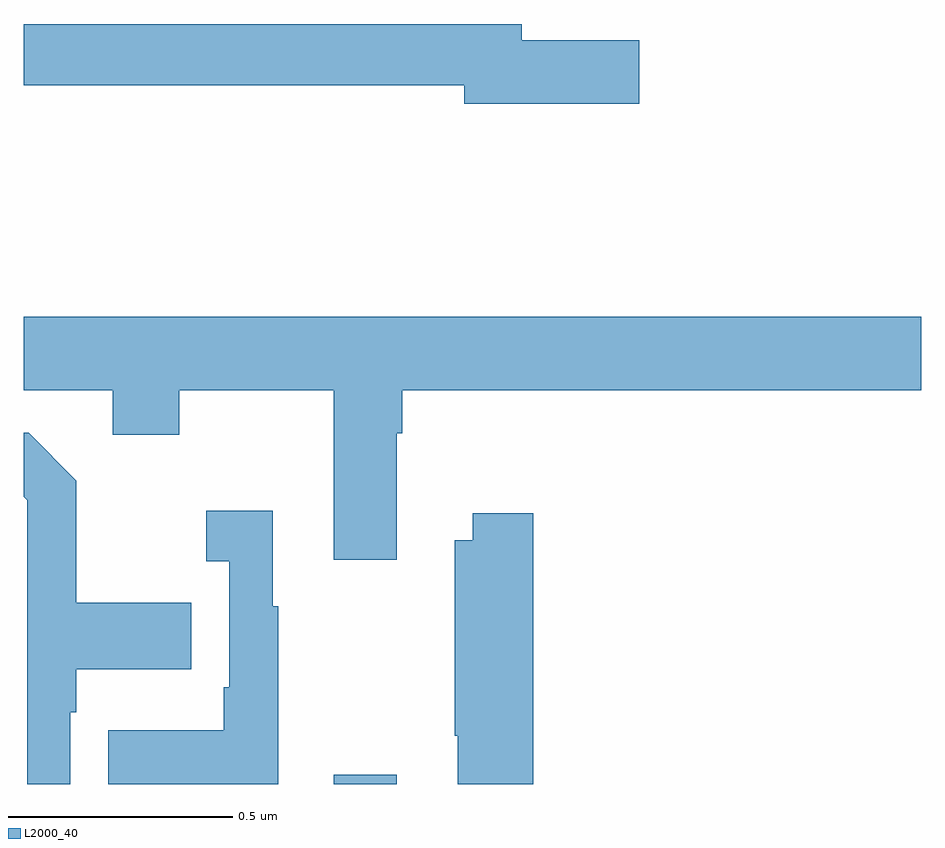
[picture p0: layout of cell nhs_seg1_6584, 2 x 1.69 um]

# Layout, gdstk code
import gdstk
lib = gdstk.Library(unit=1e-6, precision=1e-09)
def R(c, l, rs):  # rectangles x0, y0, x1, y1
    for r in rs: c.add(gdstk.rectangle(r[:2], r[2:], *l))
def P(c, l, *ps):  # polygons
    for p in ps: c.add(gdstk.Polygon(p, *l))
L2000_40 = (2000, 40)

nhs_seg1_6584 = lib.new_cell('nhs_seg1_6584')
R(nhs_seg1_6584, L2000_40, [(193.691,540.199,193.831,540.22)])
P(nhs_seg1_6584, L2000_40, [(194.371,541.856),(194.11,541.856),(194.11,541.892),(193,541.892),(193,541.756),(193.982,541.756),(193.982,541.714),(194.371,541.714)],
  [(193.831,540.98),(193.844,540.98),(193.844,541.076),(195,541.076),(195,541.24),(193,541.24),(193,541.076),(193.199,541.076),(193.199,540.977),(193.347,540.977),(193.347,541.076),(193.691,541.076),(193.691,540.699),(193.831,540.699)],
  [(193.104,540.359),(193.117,540.359),(193.117,540.455),(193.373,540.455),(193.373,540.603),(193.117,540.603),(193.117,540.875),(193.011,540.981),(193,540.981),(193,540.839),(193.008,540.831),(193.008,540.199),(193.104,540.199)],
  [(193.567,540.595),(193.555,540.595),(193.555,540.808),(193.407,540.808),(193.407,540.695),(193.458,540.695),(193.458,540.415),(193.446,540.415),(193.446,540.319),(193.189,540.319),(193.189,540.199),(193.567,540.199)],
  [(194.135,540.802),(194,540.802),(194,540.742),(193.96,540.742),(193.96,540.307),(193.967,540.307),(193.967,540.199),(194.135,540.199)])

lib.write_gds('nhs_seg1_6584.gds')
